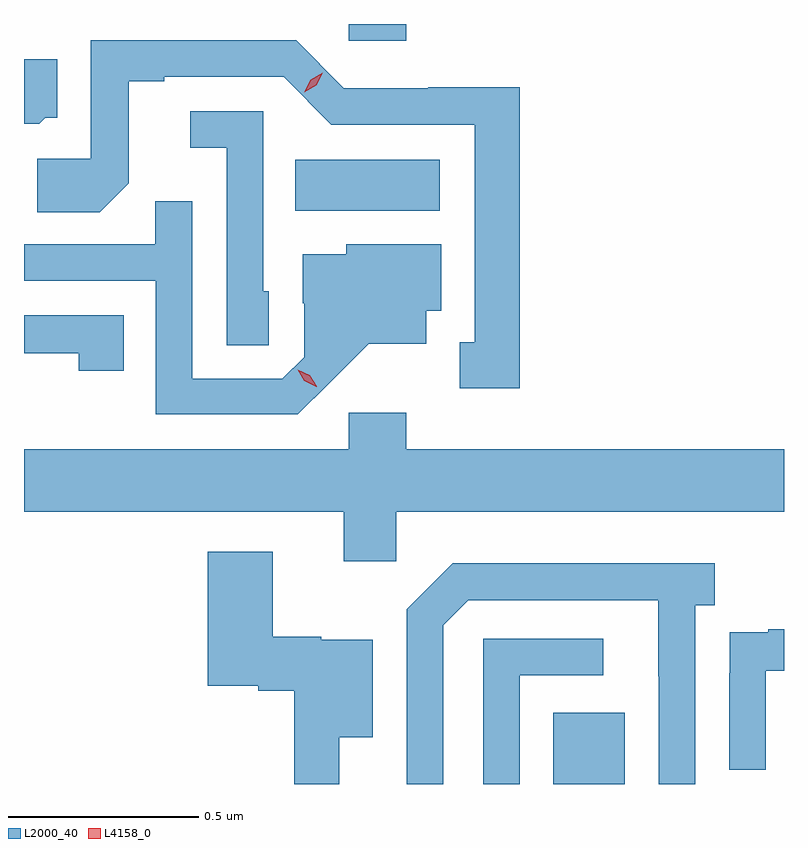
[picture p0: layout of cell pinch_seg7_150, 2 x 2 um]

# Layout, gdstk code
import gdstk
lib = gdstk.Library(unit=1e-6, precision=1e-09)
def R(c, l, rs):  # rectangles x0, y0, x1, y1
    for r in rs: c.add(gdstk.rectangle(r[:2], r[2:], *l))
def P(c, l, *ps):  # polygons
    for p in ps: c.add(gdstk.Polygon(p, *l))
L2000_40 = (2000, 40)
L4158_0 = (4158, 0)

pinch_seg7_150 = lib.new_cell('pinch_seg7_150')
R(pinch_seg7_150, L2000_40, [(1030.931,1003.895,1031.119,1004.083), (1030.252,1005.404,1030.632,1005.538), (1030.392,1005.851,1030.544,1005.895)])
P(pinch_seg7_150, L2000_40, [(1030.843,1005.728),(1030.602,1005.728),(1030.602,1005.726),(1030.38,1005.726),(1030.254,1005.852),(1029.714,1005.852),(1029.714,1005.54),(1029.573,1005.54),(1029.573,1005.4),(1029.737,1005.4),(1029.813,1005.476),(1029.813,1005.744),(1029.907,1005.744),(1029.907,1005.756),(1030.221,1005.756),(1030.347,1005.63),(1030.724,1005.63),(1030.724,1005.057),(1030.685,1005.057),(1030.685,1004.937),(1030.843,1004.937)],
  [(1029.594,1005.648),(1029.625,1005.648),(1029.625,1005.802),(1029.538,1005.802),(1029.538,1005.632),(1029.578,1005.632)],
  [(1030.182,1005.192),(1030.167,1005.192),(1030.167,1005.666),(1029.975,1005.666),(1029.975,1005.569),(1030.071,1005.569),(1030.071,1005.049),(1030.182,1005.049)],
  [(1030.342,1004.951),(1030.445,1005.053),(1030.597,1005.053),(1030.597,1005.14),(1030.636,1005.14),(1030.636,1005.316),(1030.386,1005.316),(1030.386,1005.289),(1030.271,1005.289),(1030.271,1005.16),(1030.275,1005.16),(1030.275,1005.018),(1030.218,1004.961),(1029.981,1004.961),(1029.981,1005.428),(1029.883,1005.428),(1029.883,1005.315),(1029.538,1005.315),(1029.538,1005.219),(1029.885,1005.219),(1029.885,1004.868),(1030.258,1004.868)],
  [(1029.8,1005.129),(1029.538,1005.129),(1029.538,1005.028),(1029.682,1005.028),(1029.682,1004.982),(1029.8,1004.982)],
  [(1030.518,1004.612),(1031.538,1004.612),(1031.538,1004.776),(1030.544,1004.776),(1030.544,1004.872),(1030.392,1004.872),(1030.392,1004.776),(1029.538,1004.776),(1029.538,1004.612),(1030.379,1004.612),(1030.379,1004.481),(1030.518,1004.481)],
  [(1030.367,1004.018),(1030.456,1004.018),(1030.456,1004.275),(1030.32,1004.275),(1030.32,1004.283),(1030.192,1004.283),(1030.192,1004.506),(1030.022,1004.506),(1030.022,1004.153),(1030.155,1004.153),(1030.155,1004.141),(1030.249,1004.141),(1030.249,1003.895),(1030.367,1003.895)],
  [(1030.641,1004.313),(1030.707,1004.379),(1031.207,1004.379),(1031.207,1004.179),(1031.208,1004.179),(1031.208,1003.895),(1031.304,1003.895),(1031.304,1004.366),(1031.356,1004.366),(1031.356,1004.476),(1030.666,1004.476),(1030.545,1004.355),(1030.545,1003.895),(1030.641,1003.895)],
  [(1031.49,1004.193),(1031.538,1004.193),(1031.538,1004.302),(1031.497,1004.302),(1031.497,1004.295),(1031.395,1004.295),(1031.395,1004.186),(1031.394,1004.186),(1031.394,1003.932),(1031.49,1003.932)],
  [(1030.842,1004.181),(1031.062,1004.181),(1031.062,1004.277),(1030.746,1004.277),(1030.746,1003.895),(1030.842,1003.895)])
P(pinch_seg7_150, L4158_0, [(1030.275,1005.715),(1030.275,1005.716),(1030.292,1005.748),(1030.324,1005.767),(1030.324,1005.767),(1030.324,1005.767),(1030.307,1005.734),(1030.275,1005.715)],
  [(1030.307,1004.941),(1030.276,1004.956),(1030.259,1004.985),(1030.259,1004.985),(1030.259,1004.985),(1030.29,1004.971),(1030.308,1004.942),(1030.308,1004.941)])

lib.write_gds('pinch_seg7_150.gds')
